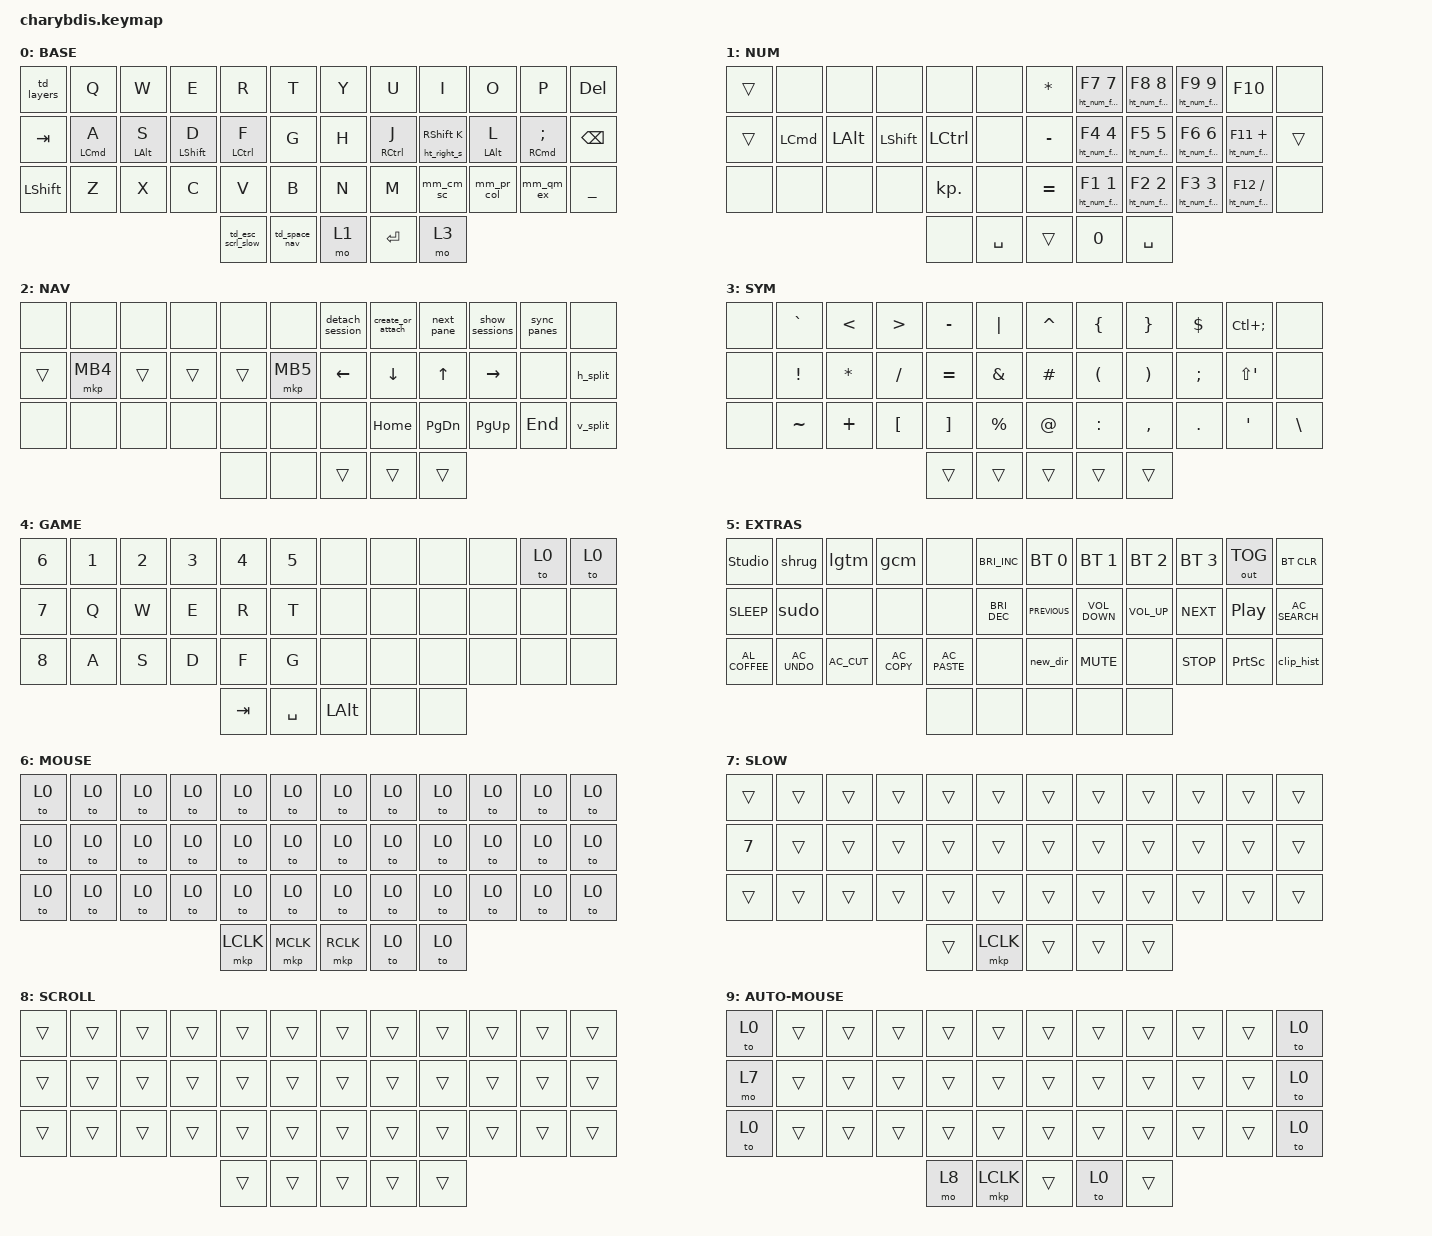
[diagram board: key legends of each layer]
/* upstream bindings and behaviors */
#include <behaviors.dtsi>
#include <dt-bindings/zmk/bt.h>
#include <dt-bindings/zmk/keys.h>
#include <dt-bindings/zmk/mouse.h>
#include <dt-bindings/zmk/outputs.h>
#include <behaviors/mouse_keys.dtsi>
#include <dt-bindings/zmk/ext_power.h>
#include <input/processors.dtsi>
#include <dt-bindings/zmk/input_transform.h>

/* local overlays */
#include "macros.dtsi"
#include "behaviors.dtsi"
#include "combos.dtsi"
#include "charybdis-layouts.dtsi"

/ {
// ╭──────┬──────┬──────┬──────┬──────┬──────╮  ╭──────┬──────┬──────┬──────┬──────┬──────╮
//    00     01     02     03    04      05        06     07     08     09     10     11
// ├──────┼──────┼──────┼──────┼──────┼──────┤  ├──────┼──────┼──────┼──────┼──────┼──────┤
//    12     13     14     15    16      17        18     19     20     21     22     23
// ├──────┼──────┼──────┼──────┼──────┼──────┤  ├──────┼──────┼──────┼──────┼──────┼──────┤
//    24     25     26     27    28      29        30     31     32     33     34     35
// ╰──────┴──────┴──────┼──────┼──────┼──────┤  ├──────┼──────┼──────┴──────┴──────┴──────╯
//                         36     37     38        39     40
//                      ╰──────┴──────┴──────╯  ╰──────┴──────╯
// #define BASE    0
// #define NUM     1
// #define NAV     2
// #define SYM     3
// #define GAME    4
// #define EXTRAS  5
// #define MOUSE   6
// #define SLOW    7
// #define SCROLL  8

    keymap {
        compatible = "zmk,keymap";
        BASE {
            bindings = <
// ╭──────────┬────────────────┬────────────────┬─────────────────┬─────────────────┬──────╮  ╭──────┬──────────────────┬──────────────────┬─────────────────┬────────────────────────┬───────────╮
    &td_layers &kp Q            &kp W            &kp E             &kp R             &kp T     &kp Y  &kp U              &kp I              &kp O             &kp P                     &kp DEL
// ├──────────┼────────────────┼────────────────┼─────────────────┼─────────────────┼──────┤  ├──────┼──────────────────┼──────────────────┼─────────────────┼────────────────────────┼───────────┤
    &kp TAB    &ht_left LCMD A  &ht_left LALT S  &ht_left_s LSHFT D  &ht_left LCTRL F  &kp G     &kp H  &ht_right RCTRL J  &ht_right_s RSHFT K  &ht_right LALT L  &ht_right RCMD SEMICOLON  &kp BSPC
// ├──────────┼────────────────┼────────────────┼─────────────────┼─────────────────┼──────┤  ├──────┼──────────────────┼──────────────────┼─────────────────┼────────────────────────┼───────────┤
    &kp LSHFT  &kp Z            &kp X            &kp C             &kp V             &kp B     &kp N  &kp M              &mm_cm_sc          &mm_pr_col        &mm_qm_ex                 &kp UNDER
// ╰──────────┴────────────────┴────────────────┼─────────────────┼─────────────────┼──────┤  ├──────┼──────────────────┼──────────────────┴─────────────────┴────────────────────────┴───────────╯
                                                           &td_esc_scrl_slow  &td_space_nav   &mo 1     &kp ENTER  &mo 3
                                                       // ╰──────────────────┴──────────────┴──────╯  ╰──────────┴──────────────╯
            >;
        };

        NUM {
            bindings = <
&trans   &none  &none  &none  &none          &none            &kp ASTRK  &ht_num_func F7 N7  &ht_num_func F8 N8  &ht_num_func F9 N9  &kp F10                 &none
&trans   &kp LCMD  &kp LALT  &kp LSHFT  &kp LCTRL  &none      &kp MINUS  &ht_num_func F4 N4  &ht_num_func F5 N5  &ht_num_func F6 N6  &ht_num_func F11 PLUS   &trans
&none    &none  &none  &none  &kp KP_DOT          &none            &kp EQUAL  &ht_num_func F1 N1  &ht_num_func F2 N2  &ht_num_func F3 N3  &ht_num_func F12 SLASH  &none
                       &none  &kp SPACE      &trans           &kp N0     &kp SPACE
            >;
        };

        NAV {
            bindings = <
&none   &none     &none   &none   &none   &none        &detach_session  &create_or_attach  &next_pane   &show_sessions  &sync_panes       &none
&trans  &mkp MB4  &trans  &trans  &trans  &mkp MB5     &kp LEFT_ARROW     &kp DOWN     &kp UP          &kp RIGHT_ARROW  &none             &h_split 
&none   &none     &none   &none   &none   &none        &none              &kp HOME     &kp PG_DN       &kp PG_UP        &kp END           &v_split
                        &none   &none   &trans         &trans   &trans
            >;
        };

        SYM {
            bindings = <
&none  &kp GRAVE  &kp LT     &kp GT    &kp MINUS  &kp PIPE      &kp CARET   &kp LBRC  &kp RBRC   &kp DLLR &kp LC(SEMI) &none
&none  &kp EXCL   &kp ASTRK  &kp FSLH  &kp EQUAL  &kp AMPS      &kp HASH    &kp LPAR  &kp RPAR   &kp SEMI &kp LS(APOS)     &none
&none  &kp TILDE  &kp PLUS   &kp LBKT  &kp RBKT   &kp PRCNT     &kp AT_SIGN &kp COLON &kp COMMA  &kp DOT &kp SQT       &kp BSLH
                   &trans  &trans  &trans      &trans      &trans
            >;
        };

        GAME {
            bindings = <
&kp N6  &kp N1 &kp N2 &kp N3  &kp N4     &kp N5          &none  &none  &none  &none  &to 0  &to 0
&kp N7  &kp Q  &kp W  &kp E   &kp R      &kp T           &none  &none  &none  &none  &none  &none
&kp N8  &kp A  &kp S  &kp D   &kp F      &kp G           &none  &none  &none  &none  &none  &none
                          &kp TAB   &kp SPACE  &kp LEFT_ALT    &none  &none
            >;
        };

        EXTRAS {
            bindings = <
&studio_unlock    &shrug          &lgtm           &gcm            &none           &kp C_BRIGHTNESS_INC    &bt BT_SEL 0   &bt BT_SEL 1       &bt BT_SEL 2      &bt BT_SEL 3  &out OUT_TOG       &bt BT_CLR
&kp C_SLEEP       &sudo           &none           &none           &none           &kp C_BRIGHTNESS_DEC    &kp C_PREVIOUS &kp C_VOLUME_DOWN  &kp C_VOLUME_UP   &kp C_NEXT    &kp C_PLAY_PAUSE   &kp C_AC_SEARCH
&kp C_AL_COFFEE   &kp C_AC_UNDO   &kp C_AC_CUT    &kp C_AC_COPY   &kp C_AC_PASTE  &none                   &new_dir       &kp K_MUTE         &none             &kp C_STOP    &kp PRINTSCREEN    &clip_hist
                                                                                   &none  &none  &none    &none          &none
            >;
        };

        MOUSE {
            bindings = <
&to 0    &to 0    &to 0    &to 0    &to 0    &to 0    &to 0    &to 0    &to 0    &to 0    &to 0    &to 0
&to 0    &to 0    &to 0    &to 0    &to 0    &to 0    &to 0    &to 0    &to 0    &to 0    &to 0    &to 0
&to 0    &to 0    &to 0    &to 0    &to 0    &to 0    &to 0    &to 0    &to 0    &to 0    &to 0    &to 0
                              &mkp LCLK    &mkp MCLK    &mkp RCLK    &to 0    &to 0
            >;
        };

        SLOW {
            bindings = <
&trans    &trans    &trans    &trans    &trans       &trans    &trans    &trans    &trans    &trans    &trans    &trans
&kp N7    &trans    &trans    &trans    &trans       &trans    &trans    &trans    &trans    &trans    &trans    &trans
&trans    &trans    &trans    &trans    &trans       &trans    &trans    &trans    &trans    &trans    &trans    &trans
                              &trans    &mkp LCLK    &trans    &trans    &trans
            >;
        };

        SCROLL {
            bindings = <
&trans    &trans    &trans    &trans    &trans    &trans    &trans    &trans    &trans    &trans    &trans    &trans
&trans    &trans    &trans    &trans    &trans    &trans    &trans    &trans    &trans    &trans    &trans    &trans
&trans    &trans    &trans    &trans    &trans    &trans    &trans    &trans    &trans    &trans    &trans    &trans
                              &trans    &trans    &trans    &trans    &trans
            >;
        };


        AUTO-MOUSE {
            bindings = <
&to 0    &trans    &trans    &trans    &trans    &trans    &trans    &trans    &trans    &trans    &trans    &to 0
&mo 7    &trans    &trans    &trans    &trans    &trans    &trans    &trans    &trans    &trans    &trans    &to 0
&to 0    &trans    &trans    &trans    &trans    &trans    &trans    &trans    &trans    &trans    &trans    &to 0
                        &mo 8  &mkp LCLK  &trans    &to 0  &trans
            >;
        };
    };

};

